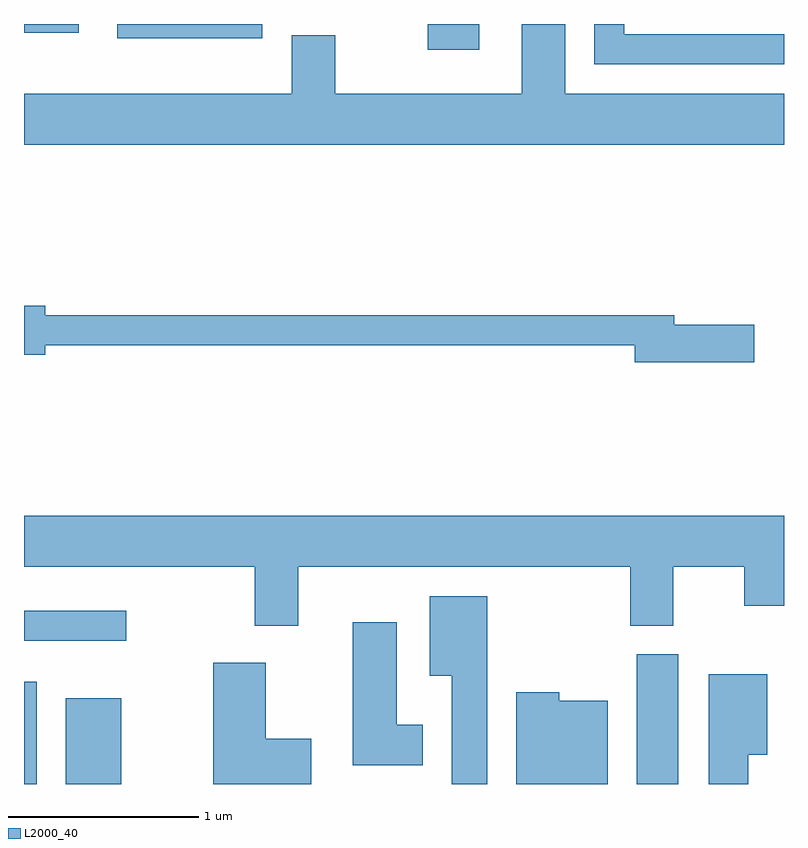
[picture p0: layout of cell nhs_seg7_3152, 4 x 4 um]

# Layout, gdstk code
import gdstk
lib = gdstk.Library(unit=1e-6, precision=1e-09)
def R(c, l, rs):  # rectangles x0, y0, x1, y1
    for r in rs: c.add(gdstk.rectangle(r[:2], r[2:], *l))
def P(c, l, *ps):  # polygons
    for p in ps: c.add(gdstk.Polygon(p, *l))
L2000_40 = (2000, 40)

nhs_seg7_3152 = lib.new_cell('nhs_seg7_3152')
R(nhs_seg7_3152, L2000_40, [(281.611,1744.252,281.679,1744.789), (281.831,1744.252,282.124,1744.704), (284.836,1744.252,285.054,1744.934), (281.611,1745.006,282.148,1745.164), (283.736,1748.116,284.008,1748.252), (282.101,1748.176,282.864,1748.252), (281.611,1748.206,281.899,1748.252)])
P(nhs_seg7_3152, L2000_40, [(285.611,1747.884),(284.459,1747.884),(284.459,1748.252),(284.231,1748.252),(284.231,1747.884),(283.249,1747.884),(283.249,1748.194),(283.021,1748.194),(283.021,1747.884),(281.611,1747.884),(281.611,1747.616),(285.611,1747.616)],
  [(285.611,1748.199),(284.769,1748.199),(284.769,1748.252),(284.611,1748.252),(284.611,1748.041),(285.611,1748.041)],
  [(285.454,1746.669),(285.034,1746.669),(285.034,1746.719),(281.724,1746.719),(281.724,1746.769),(281.611,1746.769),(281.611,1746.511),(281.724,1746.511),(281.724,1746.561),(284.826,1746.561),(284.826,1746.471),(285.454,1746.471)],
  [(283.054,1745.396),(284.801,1745.396),(284.801,1745.086),(285.029,1745.086),(285.029,1745.396),(285.401,1745.396),(285.401,1745.191),(285.611,1745.191),(285.611,1745.664),(281.611,1745.664),(281.611,1745.396),(282.826,1745.396),(282.826,1745.086),(283.054,1745.086)],
  [(284.049,1745.239),(283.746,1745.239),(283.746,1744.821),(283.861,1744.821),(283.861,1744.252),(284.049,1744.252)],
  [(283.709,1744.564),(283.574,1744.564),(283.574,1745.104),(283.341,1745.104),(283.341,1744.351),(283.709,1744.351)],
  [(283.124,1744.489),(282.884,1744.489),(282.884,1744.889),(282.606,1744.889),(282.606,1744.252),(283.124,1744.252)],
  [(285.424,1744.406),(285.524,1744.406),(285.524,1744.829),(285.216,1744.829),(285.216,1744.252),(285.424,1744.252)],
  [(284.684,1744.689),(284.429,1744.689),(284.429,1744.734),(284.201,1744.734),(284.201,1744.252),(284.684,1744.252)])

lib.write_gds('nhs_seg7_3152.gds')
